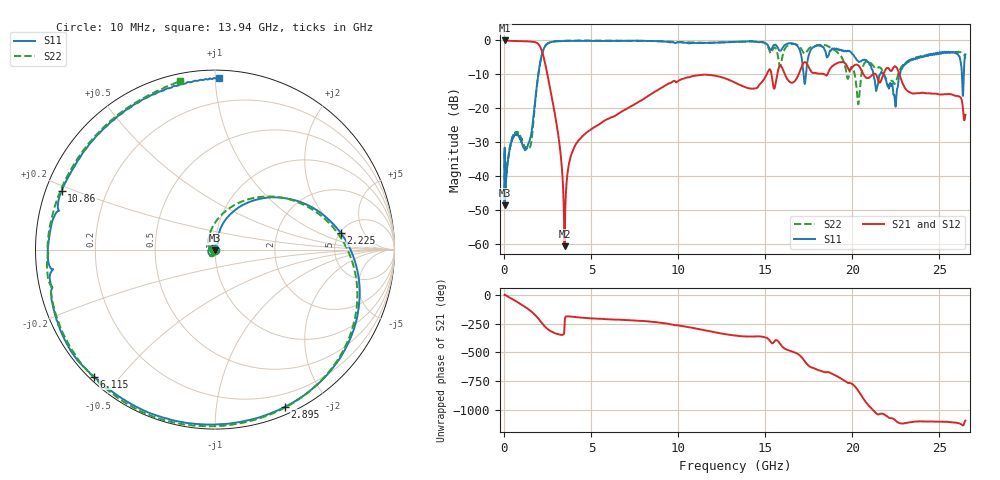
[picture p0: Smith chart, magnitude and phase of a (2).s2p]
!Created: 10-02-2013 at 12:38:38
!Mini-Circuits
!S2P DATA File Format
!Type: LOW PASS FILTER
!MODEL: LFCN-2000+
!S/N: Unit 1
!PIN OUT: PORT 1 - PIN 1, PORT 2 - PIN 3, GROUND - PIN 2,4
!TEST CONDITIONS: Z:50 OHM SYSTEM, INPUT POWER = -10dBm
!PROD RUN: MCPMM80 DATE CODE: 1128
!REMARK: UNITS MOUNTED ON TB-270 RUN#MN43590 D/C 1330. PORT EXTENSION HAS BEEN DONE.
!TESTED ON: NETWORK ANALYZER MODEL AG N5242A S/N 71932 CAL DUE DATE 3/15/14
# MHZ S DB R 50
!Frequency  S11 dB  S11 DEG  S21 dB  S21 DEG  S12 dB  S12 DEG  S22 dB  S22 DEG
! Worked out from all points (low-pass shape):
!   4441 points, 10 MHz to 26.5 GHz, reference 50 ohm
!   highest |S21| = -0.06 dB at 15 MHz (marker M1); lowest = -60.8 dB at 3.455 GHz (marker M2)
!   |S21| within 3 dB of the highest: start of sweep to 2.145 GHz
!   lowest |S11| = -48.7 dB at 10 MHz (marker M3), VSWR 1.01, Z = 49.8 - j0.298 ohm
!   |S11| at or under -10 dB: start of sweep to 1.949 GHz; 21.2 GHz to 21.62 GHz (412.6 MHz wide, 1.93 % of centre); 21.81 GHz to 22.75 GHz (931.4 MHz wide, 4.18 % of centre)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
!   |S22| runs from -48.4 to -0.1 dB; largest |S21 - S12| = 0.012
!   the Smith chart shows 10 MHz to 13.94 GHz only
!   S11 on the Smith chart (normalised r, x): 10 MHz: 1.00, -0.01; 2.225 GHz: 5.11, +1.89; 2.895 GHz: 0.07, -1.53; 6.115 GHz: 0.01, -0.43; 10.86 GHz: 0.05, +0.18; 13.94 GHz: 0.04, +1.02
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10  -48.68 -125.7  -0.07 -0.9  -0.00 -0.4  -44.62 -136.9
15  -33.60 -86.8  -0.06 -0.1  -0.07 -0.2  -33.11 -86.7
476  -28.87 -118.2  -0.20 -40.7  -0.20 -40.7  -28.48 -107.0
1110  -31.88 131.2  -0.30 -98.6  -0.30 -98.6  -30.82 -137.5
1760  -18.12 75.2  -0.56 -175.3  -0.55 -175.3  -18.79 99.8
2225  -3.01 7.5  -4.44 100.9  -4.43 100.9  -3.03 5.1
2895  -0.36 -66.1  -21.65 27.2  -21.64 27.2  -0.30 -68.9
3455  -0.22 -91.3  -60.77 99.9  -60.24 97.9  -0.13 -92.2
4425  -0.17 -114.6  -28.64 161.0  -28.65 161.0  -0.07 -112.2
6115  -0.19 -133.7  -22.81 144.9  -22.80 144.9  -0.13 -129.6
8840  -0.29 -154.7  -14.60 119.5  -14.58 119.5  -0.29 -150.0
10860  -0.77 159.2  -10.54 71.2  -10.52 71.2  -0.67 166.8
13260  -0.48 96.3  -12.50 5.4  -12.49 5.4  -0.48 107.5
13940  -0.38 88.8  -14.04 -2.1  -14.03 -2.1  -0.37 101.8
15990  -2.22 117.5  -8.42 -92.3  -8.40 -92.4  -4.53 154.2
17110  -6.00 96.0  -7.52 175.0  -7.52 174.9  -2.95 146.2
17670  -2.42 159.9  -9.49 90.4  -9.49 90.4  -2.11 164.4
19290  -3.00 109.1  -6.49 0.4  -6.51 0.6  -4.36 93.6
20190  -5.24 58.2  -7.23 -80.3  -7.22 -80.2  -11.73 45.4
22090  -14.12 -24.9  -8.31 17.7  -8.32 17.9  -13.53 7.3
26080  -4.28 -41.0  -16.51 -29.0  -16.52 -29.8  -3.40 2.4
26500  -4.20 48.5  -22.00 -9.0  -22.22 -9.8  -5.39 -21.3
